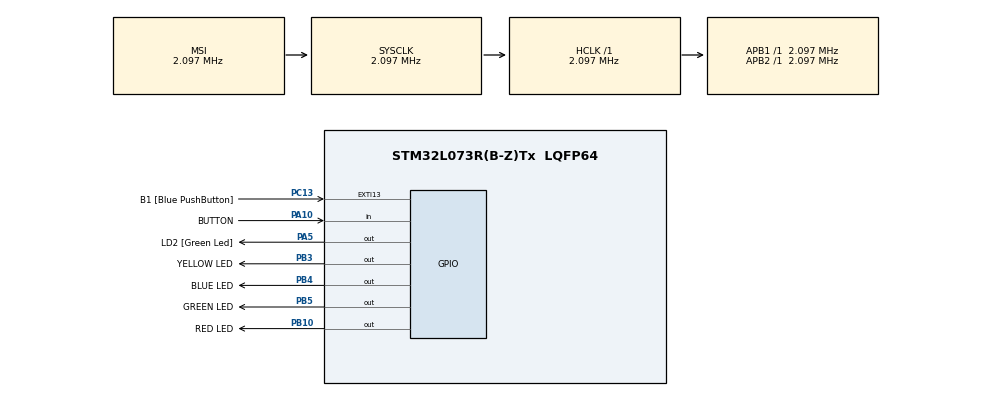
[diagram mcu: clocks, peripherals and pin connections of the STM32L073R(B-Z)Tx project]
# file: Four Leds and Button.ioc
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Mcu.Family=STM32L0
Mcu.Name=STM32L073R(B-Z)Tx
Mcu.Package=LQFP64
PA10.GPIO_Label=BUTTON
PA10.GPIO_PuPd=GPIO_PULLDOWN
PA10.Signal=GPIO_Input
PA13.GPIO_Label=TMS
PA13.Signal=SYS_SWDIO
PA14.GPIO_Label=TCK
PA14.Signal=SYS_SWCLK
PA2.GPIO_Label=USART_TX
PA2.Signal=USART2_TX
PA3.GPIO_Label=USART_RX
PA3.Signal=USART2_RX
PA5.GPIO_Label=LD2 [Green Led]
PA5.Signal=GPIO_Output
PB10.GPIO_Label=RED LED
PB10.Signal=GPIO_Output
PB3.GPIO_Label=YELLOW LED
PB3.Signal=GPIO_Output
PB4.GPIO_Label=BLUE LED
PB4.Signal=GPIO_Output
PB5.GPIO_Label=GREEN LED
PB5.Signal=GPIO_Output
PC13.GPIO_Label=B1 [Blue PushButton]
PC13.GPIO_ModeDefaultEXTI=GPIO_MODE_IT_FALLING
PC13.Signal=GPXTI13
PC14-OSC32_IN.Signal=RCC_OSC32_IN
PC15-OSC32_OUT.Signal=RCC_OSC32_OUT
PH0-OSC_IN.GPIO_Label=MCO
PH0-OSC_IN.Signal=RCC_OSC_IN
ProjectManager.HeapSize=0x200
ProjectManager.StackSize=0x400
ProjectManager.TargetToolchain=TrueSTUDIO
RCC.AHBFreq_Value=2097000
RCC.APB1Freq_Value=2097000
RCC.APB1TimFreq_Value=2097000
RCC.APB2Freq_Value=2097000
RCC.APB2TimFreq_Value=2097000
RCC.HSE_VALUE=8000000
RCC.HSI16_VALUE=16000000
RCC.HSI48_VALUE=48000000
RCC.HSI_VALUE=16000000
RCC.LSEState=RCC_LSE_ON
RCC.LSE_VALUE=32768
RCC.MSI_VALUE=2097000
RCC.SYSCLKFreq_VALUE=2097000
RCC.VCOOutputFreq_Value=48000000
board=NUCLEO-L073RZ

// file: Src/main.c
/* USER CODE BEGIN Header */
/**
  ******************************************************************************
  * @file           : main.c
  * @brief          : Main program body
  ******************************************************************************
  * @attention
  *
  * <h2><center>&copy; Copyright (c) 2022 STMicroelectronics.
  * All rights reserved.</center></h2>
  *
  * This software component is licensed by ST under BSD 3-Clause license,
  * the "License"; You may not use this file except in compliance with the
  * License. You may obtain a copy of the License at:
  *                        opensource.org/licenses/BSD-3-Clause
  *
  ******************************************************************************
  */
/* USER CODE END Header */

#include "main.h"

/* USER CODE BEGIN Includes */
#include <stdbool.h>
#define NUM_OF_LEDS 4
#define DELAY 800
/* USER CODE END Includes */

/* USER CODE BEGIN PV */
uint32_t leds[NUM_OF_LEDS] = {RED_LED_Pin, YELLOW_LED_Pin, BLUE_LED_Pin, GREEN_LED_Pin};
volatile bool Current_State;
bool Previous_State = false;
/* USER CODE END PV */

void SystemClock_Config(void);
static void MX_GPIO_Init(void);

/* USER CODE BEGIN 0 */
void Blink_Five_Leds(void);
void Invert_Blink_Five_Leds(void);
/* USER CODE END 0 */

int main(void)
{

  /* MCU Configuration--------------------------------------------------------*/

  /* Reset of all peripherals, Initializes the Flash interface and the Systick. */
  HAL_Init();

  /* Configure the system clock */
  SystemClock_Config();

  /* Initialize all configured peripherals */
  MX_GPIO_Init();

  /* Infinite loop */
  while (1)
  {

    /* USER CODE BEGIN 3 */
		if(HAL_GPIO_ReadPin(GPIOA, BUTTON_Pin))
	  {
	     Current_State = !Previous_State;
			 Invert_Blink_Five_Leds();

	  }
	  else
	  {
			  Current_State = Previous_State;
	      Blink_Five_Leds();
	  }
  }
  /* USER CODE END 3 */
}

void SystemClock_Config(void)
{
  RCC_OscInitTypeDef RCC_OscInitStruct = {0};
  RCC_ClkInitTypeDef RCC_ClkInitStruct = {0};

  /** Configure the main internal regulator output voltage
  */
  __HAL_PWR_VOLTAGESCALING_CONFIG(PWR_REGULATOR_VOLTAGE_SCALE1);
  /** Initializes the CPU, AHB and APB busses clocks
  */
  RCC_OscInitStruct.OscillatorType = RCC_OSCILLATORTYPE_MSI;
  RCC_OscInitStruct.MSIState = RCC_MSI_ON;
  RCC_OscInitStruct.MSICalibrationValue = 0;
  RCC_OscInitStruct.MSIClockRange = RCC_MSIRANGE_5;
  RCC_OscInitStruct.PLL.PLLState = RCC_PLL_NONE;
  if (HAL_RCC_OscConfig(&RCC_OscInitStruct) != HAL_OK)
  {
    Error_Handler();
  }
  /** Initializes the CPU, AHB and APB busses clocks
  */
  RCC_ClkInitStruct.ClockType = RCC_CLOCKTYPE_HCLK|RCC_CLOCKTYPE_SYSCLK
                              |RCC_CLOCKTYPE_PCLK1|RCC_CLOCKTYPE_PCLK2;
  RCC_ClkInitStruct.SYSCLKSource = RCC_SYSCLKSOURCE_MSI;
  RCC_ClkInitStruct.AHBCLKDivider = RCC_SYSCLK_DIV1;
  RCC_ClkInitStruct.APB1CLKDivider = RCC_HCLK_DIV1;
  RCC_ClkInitStruct.APB2CLKDivider = RCC_HCLK_DIV1;

  if (HAL_RCC_ClockConfig(&RCC_ClkInitStruct, FLASH_LATENCY_0) != HAL_OK)
  {
    Error_Handler();
  }
}

static void MX_GPIO_Init(void)
{
  GPIO_InitTypeDef GPIO_InitStruct = {0};

  /* GPIO Ports Clock Enable */
  __HAL_RCC_GPIOC_CLK_ENABLE();
  __HAL_RCC_GPIOH_CLK_ENABLE();
  __HAL_RCC_GPIOA_CLK_ENABLE();
  __HAL_RCC_GPIOB_CLK_ENABLE();

  /*Configure GPIO pin Output Level */
  HAL_GPIO_WritePin(LD2_GPIO_Port, LD2_Pin, GPIO_PIN_RESET);

  /*Configure GPIO pin Output Level */
  HAL_GPIO_WritePin(GPIOB, RED_LED_Pin|YELLOW_LED_Pin|BLUE_LED_Pin|GREEN_LED_Pin, GPIO_PIN_RESET);

  /*Configure GPIO pin : B1_Pin */
  GPIO_InitStruct.Pin = B1_Pin;
  GPIO_InitStruct.Mode = GPIO_MODE_IT_FALLING;
  GPIO_InitStruct.Pull = GPIO_NOPULL;
  HAL_GPIO_Init(B1_GPIO_Port, &GPIO_InitStruct);

  /*Configure GPIO pins : USART_TX_Pin USART_RX_Pin */
  GPIO_InitStruct.Pin = USART_TX_Pin|USART_RX_Pin;
  GPIO_InitStruct.Mode = GPIO_MODE_AF_PP;
  GPIO_InitStruct.Pull = GPIO_NOPULL;
  GPIO_InitStruct.Speed = GPIO_SPEED_FREQ_VERY_HIGH;
  GPIO_InitStruct.Alternate = GPIO_AF4_USART2;
  HAL_GPIO_Init(GPIOA, &GPIO_InitStruct);

  /*Configure GPIO pin : LD2_Pin */
  GPIO_InitStruct.Pin = LD2_Pin;
  GPIO_InitStruct.Mode = GPIO_MODE_OUTPUT_PP;
  GPIO_InitStruct.Pull = GPIO_NOPULL;
  GPIO_InitStruct.Speed = GPIO_SPEED_FREQ_LOW;
  HAL_GPIO_Init(LD2_GPIO_Port, &GPIO_InitStruct);

  /*Configure GPIO pins : RED_LED_Pin YELLOW_LED_Pin BLUE_LED_Pin GREEN_LED_Pin */
  GPIO_InitStruct.Pin = RED_LED_Pin|YELLOW_LED_Pin|BLUE_LED_Pin|GREEN_LED_Pin;
  GPIO_InitStruct.Mode = GPIO_MODE_OUTPUT_PP;
  GPIO_InitStruct.Pull = GPIO_NOPULL;
  GPIO_InitStruct.Speed = GPIO_SPEED_FREQ_LOW;
  HAL_GPIO_Init(GPIOB, &GPIO_InitStruct);

  /*Configure GPIO pin : BUTTON_Pin */
  GPIO_InitStruct.Pin = BUTTON_Pin;
  GPIO_InitStruct.Mode = GPIO_MODE_INPUT;
  GPIO_InitStruct.Pull = GPIO_PULLDOWN;
  HAL_GPIO_Init(BUTTON_GPIO_Port, &GPIO_InitStruct);

}

/* USER CODE BEGIN 4 */
void Blink_Five_Leds(void)
{
	uint32_t DELAY_TIME = 1000;
  uint32_t i;

	while(DELAY_TIME >= 400){
		HAL_GPIO_TogglePin(LD2_GPIO_Port, LD2_Pin);
		HAL_Delay(DELAY_TIME);
		for(i=0;i<NUM_OF_LEDS;i++){
			HAL_GPIO_TogglePin(GPIOA, leds[i]);
			HAL_Delay(DELAY_TIME);
		}
		  DELAY_TIME -= 50;
	}

	if(DELAY_TIME == 400){
		DELAY_TIME = 1000;
	}
}

void Invert_Blink_Five_Leds(void)
{
		HAL_GPIO_TogglePin(GPIOA, leds[0]);
		HAL_GPIO_TogglePin(LD2_GPIO_Port, LD2_Pin);
		HAL_Delay(DELAY);
		HAL_GPIO_TogglePin(GPIOB, leds[2]);
		HAL_GPIO_TogglePin(GPIOB, leds[3]);
		HAL_Delay(DELAY);
		HAL_GPIO_TogglePin(GPIOA, LD2_Pin);
		HAL_GPIO_TogglePin(GPIOB, leds[1]);
		HAL_Delay(DELAY);
		HAL_GPIO_TogglePin(GPIOB, leds[3]);
		HAL_GPIO_TogglePin(GPIOA, leds[0]);
		HAL_Delay(DELAY);
		HAL_GPIO_TogglePin(GPIOB, leds[1]);
		HAL_GPIO_TogglePin(GPIOB, leds[2]);
		HAL_Delay(DELAY);
}
/* USER CODE END 4 */

void Error_Handler(void)
{
}

/************************ (C) COPYRIGHT STMicroelectronics *****END OF FILE****/
